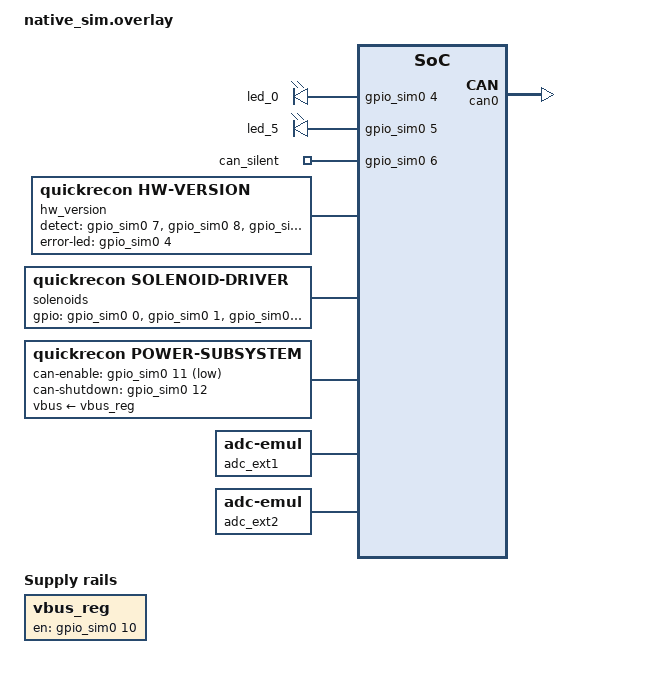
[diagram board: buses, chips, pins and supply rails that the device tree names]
/*
 * DTS overlay for native_sim integration testing.
 *
 * Replaces all hardware peripherals with emulated equivalents so the
 * full firmware application can run as a host binary. External test
 * harness communicates via Linux vcan (CAN) and a Unix domain socket
 * (sensor injection / GPIO observation).
 *
 * Uses quickrecon,gpio-sim instead of zephyr,gpio-emul for the main
 * GPIO controller. gpio-sim preserves externally-driven pin values
 * through pull-up/pull-down reconfigurations, faithfully simulating
 * real pin capacitance behavior.
 *
 * Pin assignments (all on gpio_sim0, pins 0-31):
 *   0-3:   Solenoid channels
 *   4-5:   LEDs
 *   6:     CAN silent
 *   7-9:   HW version detect
 *   10:    VBUS regulator enable
 *   11:    CAN enable (active-low)
 *   12:    CAN shutdown
 */

/* Disable the default gpio_emul so we can replace it with gpio-sim */
&gpio0 {
    status = "disabled";
};

/* Delete the base DTS leds node (uses disabled gpio0) */
/delete-node/ &led0;

/ {
    chosen {
        zephyr,canbus = &can0;
    };

    /* ---- GPIO: capacitance-aware emulator ---- */
    gpio_sim0: gpio_sim {
        compatible = "quickrecon,gpio-sim";
        status = "okay";
        gpio-controller;
        #gpio-cells = <2>;
        ngpios = <32>;
        rising-edge;
        falling-edge;
        high-level;
        low-level;
    };

    /* ---- LEDs ---- */
    leds {
        compatible = "gpio-leds";
        led_0: led_0 {
            gpios = <&gpio_sim0 4 GPIO_ACTIVE_HIGH>;
        };
        led_5: led_5 {
            gpios = <&gpio_sim0 5 GPIO_ACTIVE_HIGH>;
        };
    };

    aliases {
        led0 = &led_0;
        led1 = &led_5;
    };

    /* ---- CAN silent pin (gpio_keys) ---- */
    gpio_keys {
        compatible = "gpio-keys";
        can_silent: can_silent {
            gpios = <&gpio_sim0 6 GPIO_ACTIVE_HIGH>;
        };
    };

    /* ---- Hardware version detection ---- */
    hw_version: hw-version {
        compatible = "quickrecon,hw-version";
        detect-gpios = <&gpio_sim0 7 GPIO_ACTIVE_HIGH>,
                       <&gpio_sim0 8 GPIO_ACTIVE_HIGH>,
                       <&gpio_sim0 9 GPIO_ACTIVE_HIGH>;
        expected-pattern = <0 0 0>;
        error-led-gpios = <&gpio_sim0 4 GPIO_ACTIVE_HIGH>;
    };

    /* ---- Solenoid driver ---- */
    solenoids: solenoids {
        compatible = "quickrecon,solenoid-driver";
        gpios = <&gpio_sim0 0 GPIO_ACTIVE_HIGH>,
                <&gpio_sim0 1 GPIO_ACTIVE_HIGH>,
                <&gpio_sim0 2 GPIO_ACTIVE_HIGH>,
                <&gpio_sim0 3 GPIO_ACTIVE_HIGH>;
        counter = <&counter0>;
        max-on-time-us = <5500000>;
    };

    /* ---- Power subsystem ---- */
    vbus_reg: vbus-regulator {
        compatible = "regulator-fixed";
        regulator-name = "vbus";
        enable-gpios = <&gpio_sim0 10 GPIO_ACTIVE_HIGH>;
        regulator-boot-on;
        startup-delay-us = <5000>;
    };

    power: power-subsystem {
        compatible = "quickrecon,power-subsystem";
        vbus-supply = <&vbus_reg>;
        battery-sense-io-channels = <&adc0 0>;
        battery-divider-ratio = <7250>;
        can-enable-gpios = <&gpio_sim0 11 GPIO_ACTIVE_LOW>;
        can-shutdown-gpios = <&gpio_sim0 12 GPIO_ACTIVE_HIGH>;
    };

    /* ---- Emulated external ADCs (replace I2C ADS1115) ----
     * ADS1115 with PGA ±0.256V: input range ±256 mV → ±32767 raw counts.
     * The cell driver uses adc_emul_const_raw_value_set so the reference
     * voltage isn't applied for cell readings, but ref-internal-mv must
     * still be set (adc_emul reads it from DT at build time into a
     * .rodata struct, and runtime adc_emul_ref_voltage_set writes are
     * silently dropped on native_sim because the api struct lives in
     * read-only memory). */
    adc_ext1: adc_ext1 {
        compatible = "zephyr,adc-emul";
        nchannels = <2>;
        #io-channel-cells = <1>;
        ref-internal-mv = <256>;
        status = "okay";
    };

    adc_ext2: adc_ext2 {
        compatible = "zephyr,adc-emul";
        nchannels = <2>;
        #io-channel-cells = <1>;
        ref-internal-mv = <256>;
        status = "okay";
    };

    /* ---- Emulated UARTs for digital oxygen cells ---- */
    usart1: uart_cell1 {
        compatible = "zephyr,uart-emul";
        current-speed = <19200>;
        tx-fifo-size = <256>;
        rx-fifo-size = <256>;
        /* Large latch buffer so the whole sensor response arrives in
         * a single UART_RX_RDY event, matching DMA semantics on real
         * hardware. The cell drivers expect this — they overwrite
         * last_message from offset 0 on every event. */
        latch-buffer-size = <128>;
        status = "okay";
    };

    usart2: uart_cell2 {
        compatible = "zephyr,uart-emul";
        current-speed = <19200>;
        tx-fifo-size = <256>;
        rx-fifo-size = <256>;
        /* Large latch buffer so the whole sensor response arrives in
         * a single UART_RX_RDY event, matching DMA semantics on real
         * hardware. The cell drivers expect this — they overwrite
         * last_message from offset 0 on every event. */
        latch-buffer-size = <128>;
        status = "okay";
    };

    usart3: uart_cell3 {
        compatible = "zephyr,uart-emul";
        current-speed = <19200>;
        tx-fifo-size = <256>;
        rx-fifo-size = <256>;
        /* Large latch buffer so the whole sensor response arrives in
         * a single UART_RX_RDY event, matching DMA semantics on real
         * hardware. The cell drivers expect this — they overwrite
         * last_message from offset 0 on every event. */
        latch-buffer-size = <128>;
        status = "okay";
    };
};

/* ---- Enable native Linux CAN on vcan0 ---- */
&can0 {
    status = "okay";
    host-interface = "vcan0";
};

/* ---- Disable loopback CAN ---- */
&can_loopback0 {
    status = "disabled";
};

/* ---- Expand adc0 for battery sense ----
 * STM32 ADC1 internal reference is 3.0 V. adc_emul reads this at
 * compile time and stores it in a .rodata struct, so runtime
 * adc_emul_ref_voltage_set is a no-op on native_sim. Setting
 * ref-internal-mv here is the only way to make adc_raw_to_millivolts
 * return real values. */
&adc0 {
    nchannels = <4>;
    ref-internal-mv = <3000>;
};

/* ---- Disable I2C (not needed — ADS1115 replaced by adc-emul) ---- */
&i2c0 {
    status = "disabled";
};
